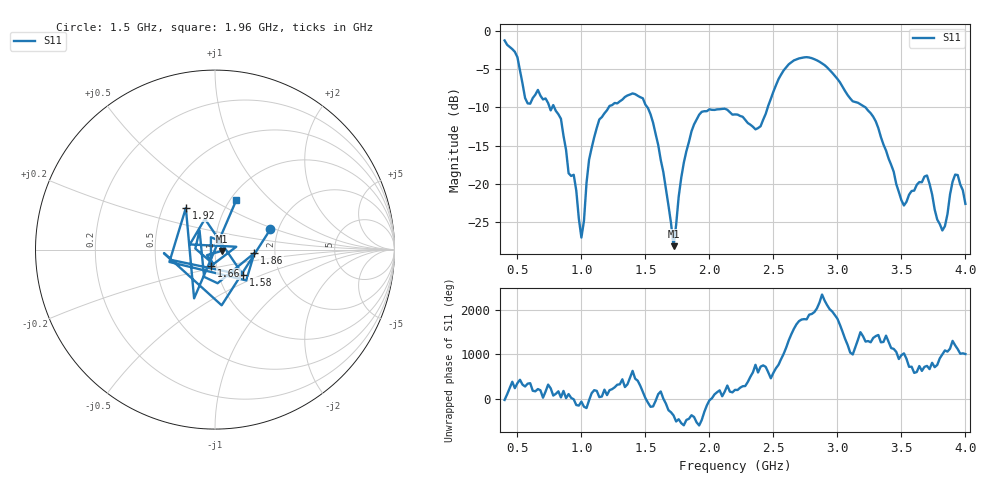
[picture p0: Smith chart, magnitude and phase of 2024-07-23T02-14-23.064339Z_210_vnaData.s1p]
!Created with skrf (http://scikit-rf.org).
# Hz S RI R 50.0
!freq ReS11 ImS11
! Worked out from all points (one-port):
!   181 points, 400 MHz to 4 GHz, reference 50 ohm
!   lowest |S11| = -28.1 dB at 1.72 GHz (marker M1), VSWR 1.08, Z = 54 - j0.768 ohm
!   |S11| at or under -10 dB: 787.9 MHz to 1.213 GHz (425.5 MHz wide, 42.5 % of centre); 1.516 GHz to 2.456 GHz (940.2 MHz wide, 47.3 % of centre); 3.219 GHz to end of sweep (the widest 3 of 4)
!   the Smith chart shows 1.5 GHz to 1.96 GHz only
!   S11 on the Smith chart (normalised r, x): 1.5 GHz: 1.82, +0.46; 1.58 GHz: 1.31, -0.39; 1.66 GHz: 0.94, -0.17; 1.86 GHz: 1.56, -0.06; 1.92 GHz: 0.65, +0.33; 1.96 GHz: 1.07, +0.64
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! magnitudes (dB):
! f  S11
! 400 MHz  -1.3
! 580 MHz  -9.5
! 660 MHz  -7.7
! 860 MHz  -13.7
! 940 MHz  -18.8
! 1 GHz  -27.0
! 1.06 GHz  -16.8
! 1.12 GHz  -12.7
! 1.3 GHz  -9.2
! 1.5 GHz  -9.6
! 1.58 GHz  -13.5
! 1.66 GHz  -20.6
! 1.72 GHz  -28.1
! 1.76 GHz  -21.7
! 1.86 GHz  -13.1
! 1.92 GHz  -11.0
! 1.96 GHz  -10.5
! 2.2 GHz  -10.9
! 2.4 GHz  -12.5
! 2.66 GHz  -3.9
! 3.1 GHz  -8.8
! 3.28 GHz  -11.2
! 3.5 GHz  -22.1
! 3.56 GHz  -21.4
! 3.7 GHz  -18.9
! 3.82 GHz  -26.1
! 3.92 GHz  -18.8
! 4 GHz  -22.6
